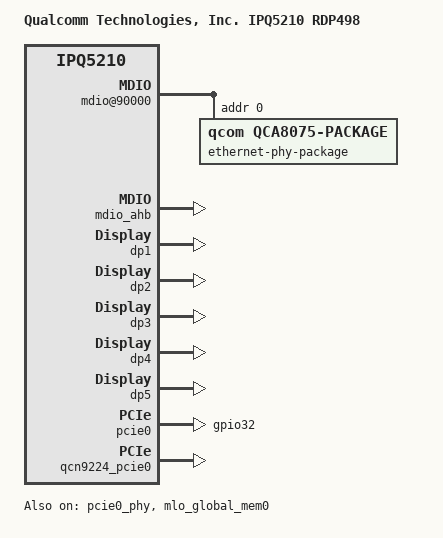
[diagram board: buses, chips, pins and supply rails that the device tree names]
// SPDX-License-Identifier: (GPL-2.0+ OR BSD-3-Clause)
/*
 * IPQ5210 RDP498 board device tree source
 *
 * Copyright (c) 2020-2021 The Linux Foundation. All rights reserved.
 * Copyright (c) Qualcomm Technologies, Inc. and/or its subsidiaries.
 */

/dts-v1/;

#include "ipq5210-rdp-common.dtsi"
#include "ipq5210-default-memory.dtsi"

/ {
	model = "Qualcomm Technologies, Inc. IPQ5210 RDP498";
	compatible = "qcom,ipq5210-rdp498", "qcom,ipq5210";

	aliases {
		serial0 = &uart1;
		ethernet0 = "/soc/dp1";
		ethernet1 = "/soc/dp2";
		ethernet2 = "/soc/dp3";
		ethernet3 = "/soc/dp4";
		ethernet4 = "/soc/dp5";
	};

	soc@0 {
		mdio@90000 {
			status = "okay";
			/* gpio reset for Malibu PHY */
			phy-reset-gpio = <&tlmm 24 GPIO_ACTIVE_LOW>;

			ethernet-phy-package@0 {
				compatible = "qcom,qca8075-package";
				#address-cells = <1>;
				#size-cells = <0>;
				reg = <0x0>;
				qcom,package-mode = "psgmii";
				phy0: ethernet-phy@0 {
					reg = <0>;
				};
				phy1: ethernet-phy@1 {
					reg = <1>;
				};
				phy2: ethernet-phy@2 {
					reg = <2>;
				};
			};
		};

		mdio_ahb: mdio-ahb@1400000 {
			status = "okay";
			compatible = "qcom,mdio-ahb-ipq52xx";
			reg = <0x1400000 0x200000>;  /* Base address: 0x1400000, Size: 2MB */
			clocks = <&gcc GCC_MDIO_GEPHY_AHB_CLK>,
				<&gcc GCC_GEPHY_SYS_CLK>,
				<&nsscc NSS_CC_EPHY_RX_CLK>,
				<&nsscc NSS_CC_EPHY_TX_CLK>,
				<&cmn_pll IPQ5210_EPHY_RAW_CLK>;
			clock-names = "mdio_gephy_ahb_clk",
				"gephy_sys_clk",
				"gephy_rx_clk",
				"gephy_tx_clk",
				"gephy_raw_clk";

			resets = <&gcc GCC_GEPHY_SYS_ARES>,
				 <&nsscc NSS_CC_EPHY_RX_CLK_ARES>,
				 <&nsscc NSS_CC_EPHY_TX_CLK_ARES>;
			reset-names = "gephy_sys_reset",
				 "gephy_rx_reset",
				 "gephy_tx_reset";
		};

		ess-instance {
			num_devices = <0x1>;

			ess_switch: ess-switch@3a000000 {
				switch_lan_bmp = <0x1e>; /* lan port bitmap */
				switch_wan_bmp = <0x40>; /* wan port bitmap */
				switch_mac_mode = <0x0>; /* PSGMII for malibu PHY */
				switch_mac_mode1 = <0xff>; /* unused */
				switch_mac_mode2 = <0xff>;

				qcom,port_phyinfo {
					port@0 {
						port_id = <1>;
						phy_address = <0>;
						phy-handle = <&phy0>;
						phy-mode = "psgmii";
					};
					port@1 {
						port_id = <2>;
						phy_address = <1>;
						phy-handle = <&phy1>;
						phy-mode = "psgmii";
					};
					port@2 {
						port_id = <3>;
						phy_address = <2>;
						phy-handle = <&phy2>;
						phy-mode = "psgmii";
					};
					port@3 {
						port_id = <4>;
						phy-mode = "internal";
					};
					port@5 {
						port_id = <6>;
						forced-speed = <10000>;
						forced-duplex = <1>;
						fixed-link {
							speed = <10000>;
							full-duplex;
							pause;
						};
					};
				};
			};
		};

		dp1 {
			device_type = "network";
			compatible = "qcom,nss-dp";
			qcom,id = <1>;
			reg = <0x3a001000 0x200>;
			qcom,mactype = <0>;
			local-mac-address = [000000000000];
			qcom,ppe-offload-disabled = <0>;
		};

		dp2 {
			device_type = "network";
			compatible = "qcom,nss-dp";
			qcom,id = <2>;
			reg = <0x3a001200 0x200>;
			qcom,mactype = <0>;
			local-mac-address = [000000000000];
			qcom,ppe-offload-disabled = <0>;
		};


		dp3 {
			device_type = "network";
			compatible = "qcom,nss-dp";
			qcom,id = <3>;
			reg = <0x3a001400 0x200>;
			qcom,mactype = <0>;
			local-mac-address = [000000000000];
			qcom,ppe-offload-disabled = <0>;
		};

		dp4 {
			device_type = "network";
			compatible = "qcom,nss-dp";
			qcom,id = <4>;
			reg = <0x3a001600 0x200>;
			qcom,mactype = <0>;
			local-mac-address = [000000000000];
			qcom,ppe-offload-disabled = <0>;
		};

		dp5 {
			device_type = "network";
			compatible = "qcom,nss-dp";
			qcom,id = <6>;
			reg = <0x3A001A00 0x200>;
			qcom,mactype = <1>;
			local-mac-address = [000000000000];
			qcom,ppe-offload-disabled = <0>;
			qcom,gem_port = <1>;
		};
	};
};

&nsscc {
	assigned-clocks = <&nsscc NSS_CC_EPHY_RX_CLK_SRC>,
			  <&nsscc NSS_CC_EPHY_TX_CLK_SRC>;
	assigned-clock-parents = <&nsscc NSS_CC_PORT4_RX_DIV_CLK_SRC>,
				 <&nsscc NSS_CC_PORT4_TX_DIV_CLK_SRC>;
};

&tlmm {
	pcie0_default_state: pcie0-default-state {
		pins = "gpio32";
		function = "gpio";
		drive-strength = <6>;
		bias-pull-down;
		output-low;
	};
};

&pcie0_phy {
	status = "okay";
};

&pcie0 {
	pinctrl-0 = <&pcie0_default_state>;
	perst-gpio = <&tlmm 32 GPIO_ACTIVE_LOW>;
	status = "okay";

	pcie0_rp {
		reg = <0 0 0 0 0>;
		qcom,mhi@0 {
			reg = <0 0 0 0 0>;
			memory-region = <&qcn9224_pcie0>, <&mlo_global_mem0>;
			memory-region-names = "host-ddr-mem", "mlo-global-mem";
			qcom,board_id = <0x1041>;
			status = "okay";
			ports {
				#address-cells = <1>;
				#size-cells = <0>;

				port@0 {
					reg = <0>;
				};

				port@1 {
					reg = <1>;
				};
			};
		};
	};
};

&qcn9224_pcie0 {
	status = "okay";
};

&mlo_global_mem0 {
	status = "okay";
};
